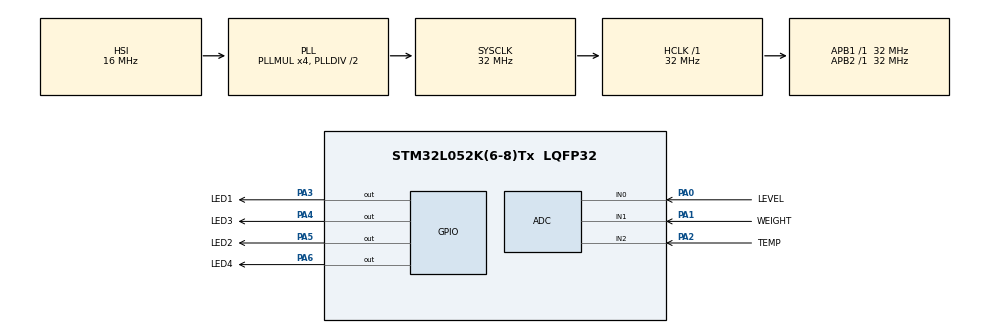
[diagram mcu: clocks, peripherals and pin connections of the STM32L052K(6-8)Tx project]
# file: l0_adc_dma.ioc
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Mcu.Family=STM32L0
RCC.MSI_VALUE=2097000
Dma.ADC.0.Mode=DMA_CIRCULAR
NVIC.TIM6_DAC_IRQn=true\:0\:0\:false\:false\:true\:true\:true
PA0.GPIO_Label=LEVEL
TIM6.Prescaler=32000-1
VP_TIM6_VS_ClockSourceINT.Mode=Enable_Timer
Dma.ADC.0.Priority=DMA_PRIORITY_LOW
PA6.GPIO_Label=LED4
RCC.SYSCLKSource=RCC_SYSCLKSOURCE_PLLCLK
ProjectManager.StackSize=0x400
Dma.ADC.0.PeriphDataAlignment=DMA_PDATAALIGN_HALFWORD
PA13.Signal=SYS_SWDIO
RCC.HSI16_VALUE=16000000
ProjectManager.TargetToolchain=STM32CubeIDE
Dma.ADC.0.PeriphInc=DMA_PINC_DISABLE
RCC.HCLKFreq_Value=32000000
RCC.APB2TimFreq_Value=32000000
RCC.LSE_VALUE=32768
PA1.Signal=ADC_IN1
RCC.AHBFreq_Value=32000000
Dma.ADC.0.Direction=DMA_PERIPH_TO_MEMORY
ADC.SamplingTime=ADC_SAMPLETIME_160CYCLES_5
PA5.Signal=GPIO_Output
ADC.DMAContinuousRequests=ENABLE
board=custom
RCC.VCOOutputFreq_Value=64000000
RCC.PLLMUL=RCC_PLLMUL_4
RCC.APB2Freq_Value=32000000
PA1.Mode=IN1
PA14.Mode=Serial_Wire
PA1.GPIO_Label=WEIGHT
PA0.Mode=IN0
TIM6.TIM_MasterOutputTrigger=TIM_TRGO_UPDATE
ADC.EOCSelection=ADC_EOC_SINGLE_CONV
TIM6.Period=100-1
PA13.Mode=Serial_Wire
Mcu.Name=STM32L052K(6-8)Tx
PA2.Signal=ADC_IN2
PA0.Signal=ADC_IN0
Dma.ADC.0.MemInc=DMA_MINC_ENABLE
PA4.Signal=GPIO_Output
RCC.SYSCLKFreq_VALUE=32000000
Mcu.Package=LQFP32
PA6.Signal=GPIO_Output
PA5.GPIO_Label=LED2
Dma.ADC.0.Instance=DMA1_Channel1
PA2.GPIO_Label=TEMP
PA14.Signal=SYS_SWCLK
ProjectManager.HeapSize=0x200
RCC.HSI_VALUE=16000000
Dma.ADC.0.MemDataAlignment=DMA_MDATAALIGN_WORD
RCC.APB1TimFreq_Value=32000000
PA2.Mode=IN2
NVIC.DMA1_Channel1_IRQn=true\:0\:0\:false\:false\:true\:false\:true
Dma.Request0=ADC
RCC.APB1Freq_Value=32000000
PA4.GPIO_Label=LED3
ADC.ExternalTrigConv=ADC_EXTERNALTRIGCONV_T6_TRGO
NVIC.ADC1_COMP_IRQn=true\:0\:0\:false\:false\:true\:true\:true
RCC.HSI48_VALUE=48000000
PA3.GPIO_Label=LED1
PA3.Signal=GPIO_Output

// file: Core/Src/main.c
/* USER CODE BEGIN Header */
/**
 ******************************************************************************
 * @file           : main.c
 * @brief          : Main program body
 ******************************************************************************
 * @attention
 *
 * <h2><center>&copy; Copyright (c) 2021 STMicroelectronics.
 * All rights reserved.</center></h2>
 *
 * This software component is licensed by ST under BSD 3-Clause license,
 * the "License"; You may not use this file except in compliance with the
 * License. You may obtain a copy of the License at:
 *                        opensource.org/licenses/BSD-3-Clause
 *
 ******************************************************************************
 */
/* USER CODE END Header */
#include "main.h"

ADC_HandleTypeDef hadc;
DMA_HandleTypeDef hdma_adc;

TIM_HandleTypeDef htim6;

void SystemClock_Config(void);
static void MX_GPIO_Init(void);
static void MX_DMA_Init(void);
static void MX_ADC_Init(void);
static void MX_TIM6_Init(void);

/* USER CODE BEGIN 0 */
#include <stdbool.h>
uint32_t adcValues[3];

volatile bool updateAdcValues = false;

void HAL_ADC_ConvCpltCallback(ADC_HandleTypeDef *hadc) {
	updateAdcValues = true;
	HAL_GPIO_TogglePin(LED4_GPIO_Port, LED4_Pin);
}

/* USER CODE END 0 */

int main(void)
{

  /* MCU Configuration--------------------------------------------------------*/

  /* Reset of all peripherals, Initializes the Flash interface and the Systick. */
  HAL_Init();

  /* Configure the system clock */
  SystemClock_Config();

  /* Initialize all configured peripherals */
  MX_GPIO_Init();
  MX_DMA_Init();
  MX_ADC_Init();
  MX_TIM6_Init();
  /* USER CODE BEGIN 2 */
	HAL_ADC_Start_DMA(&hadc, adcValues, 3);
	HAL_TIM_Base_Start(&htim6);

  /* USER CODE END 2 */

  /* Infinite loop */
  /* USER CODE BEGIN WHILE */
	while (1) {
		if (updateAdcValues) {
			updateAdcValues = false;

			if (adcValues[0] > 512) {
				HAL_GPIO_WritePin(LED1_GPIO_Port, LED1_Pin, GPIO_PIN_SET);
			} else {
				HAL_GPIO_WritePin(LED1_GPIO_Port, LED1_Pin, GPIO_PIN_RESET);
			}
			if (adcValues[1] > 512) {
				HAL_GPIO_WritePin(LED2_GPIO_Port, LED2_Pin, GPIO_PIN_SET);
			} else {
				HAL_GPIO_WritePin(LED2_GPIO_Port, LED2_Pin, GPIO_PIN_RESET);
			}
			if (adcValues[2] > 512) {
				HAL_GPIO_WritePin(LED3_GPIO_Port, LED3_Pin, GPIO_PIN_SET);
			} else {
				HAL_GPIO_WritePin(LED3_GPIO_Port, LED3_Pin, GPIO_PIN_RESET);
			}
		}
    /* USER CODE END WHILE */

	}
}

void SystemClock_Config(void)
{
  RCC_OscInitTypeDef RCC_OscInitStruct = {0};
  RCC_ClkInitTypeDef RCC_ClkInitStruct = {0};

  /** Configure the main internal regulator output voltage
  */
  __HAL_PWR_VOLTAGESCALING_CONFIG(PWR_REGULATOR_VOLTAGE_SCALE1);
  /** Initializes the RCC Oscillators according to the specified parameters
  * in the RCC_OscInitTypeDef structure.
  */
  RCC_OscInitStruct.OscillatorType = RCC_OSCILLATORTYPE_HSI;
  RCC_OscInitStruct.HSIState = RCC_HSI_ON;
  RCC_OscInitStruct.HSICalibrationValue = RCC_HSICALIBRATION_DEFAULT;
  RCC_OscInitStruct.PLL.PLLState = RCC_PLL_ON;
  RCC_OscInitStruct.PLL.PLLSource = RCC_PLLSOURCE_HSI;
  RCC_OscInitStruct.PLL.PLLMUL = RCC_PLLMUL_4;
  RCC_OscInitStruct.PLL.PLLDIV = RCC_PLLDIV_2;
  if (HAL_RCC_OscConfig(&RCC_OscInitStruct) != HAL_OK)
  {
    Error_Handler();
  }
  /** Initializes the CPU, AHB and APB buses clocks
  */
  RCC_ClkInitStruct.ClockType = RCC_CLOCKTYPE_HCLK|RCC_CLOCKTYPE_SYSCLK
                              |RCC_CLOCKTYPE_PCLK1|RCC_CLOCKTYPE_PCLK2;
  RCC_ClkInitStruct.SYSCLKSource = RCC_SYSCLKSOURCE_PLLCLK;
  RCC_ClkInitStruct.AHBCLKDivider = RCC_SYSCLK_DIV1;
  RCC_ClkInitStruct.APB1CLKDivider = RCC_HCLK_DIV1;
  RCC_ClkInitStruct.APB2CLKDivider = RCC_HCLK_DIV1;

  if (HAL_RCC_ClockConfig(&RCC_ClkInitStruct, FLASH_LATENCY_1) != HAL_OK)
  {
    Error_Handler();
  }
}

static void MX_ADC_Init(void)
{

  ADC_ChannelConfTypeDef sConfig = {0};

  /** Configure the global features of the ADC (Clock, Resolution, Data Alignment and number of conversion)
  */
  hadc.Instance = ADC1;
  hadc.Init.OversamplingMode = DISABLE;
  hadc.Init.ClockPrescaler = ADC_CLOCK_SYNC_PCLK_DIV2;
  hadc.Init.Resolution = ADC_RESOLUTION_12B;
  hadc.Init.SamplingTime = ADC_SAMPLETIME_160CYCLES_5;
  hadc.Init.ScanConvMode = ADC_SCAN_DIRECTION_FORWARD;
  hadc.Init.DataAlign = ADC_DATAALIGN_RIGHT;
  hadc.Init.ContinuousConvMode = DISABLE;
  hadc.Init.DiscontinuousConvMode = DISABLE;
  hadc.Init.ExternalTrigConvEdge = ADC_EXTERNALTRIGCONVEDGE_RISING;
  hadc.Init.ExternalTrigConv = ADC_EXTERNALTRIGCONV_T6_TRGO;
  hadc.Init.DMAContinuousRequests = ENABLE;
  hadc.Init.EOCSelection = ADC_EOC_SINGLE_CONV;
  hadc.Init.Overrun = ADC_OVR_DATA_PRESERVED;
  hadc.Init.LowPowerAutoWait = DISABLE;
  hadc.Init.LowPowerFrequencyMode = DISABLE;
  hadc.Init.LowPowerAutoPowerOff = DISABLE;
  if (HAL_ADC_Init(&hadc) != HAL_OK)
  {
    Error_Handler();
  }
  /** Configure for the selected ADC regular channel to be converted.
  */
  sConfig.Channel = ADC_CHANNEL_0;
  sConfig.Rank = ADC_RANK_CHANNEL_NUMBER;
  if (HAL_ADC_ConfigChannel(&hadc, &sConfig) != HAL_OK)
  {
    Error_Handler();
  }
  /** Configure for the selected ADC regular channel to be converted.
  */
  sConfig.Channel = ADC_CHANNEL_1;
  if (HAL_ADC_ConfigChannel(&hadc, &sConfig) != HAL_OK)
  {
    Error_Handler();
  }
  /** Configure for the selected ADC regular channel to be converted.
  */
  sConfig.Channel = ADC_CHANNEL_2;
  if (HAL_ADC_ConfigChannel(&hadc, &sConfig) != HAL_OK)
  {
    Error_Handler();
  }

}

static void MX_TIM6_Init(void)
{

  TIM_MasterConfigTypeDef sMasterConfig = {0};

  htim6.Instance = TIM6;
  htim6.Init.Prescaler = 32000-1;
  htim6.Init.CounterMode = TIM_COUNTERMODE_UP;
  htim6.Init.Period = 100-1;
  htim6.Init.AutoReloadPreload = TIM_AUTORELOAD_PRELOAD_DISABLE;
  if (HAL_TIM_Base_Init(&htim6) != HAL_OK)
  {
    Error_Handler();
  }
  sMasterConfig.MasterOutputTrigger = TIM_TRGO_UPDATE;
  sMasterConfig.MasterSlaveMode = TIM_MASTERSLAVEMODE_DISABLE;
  if (HAL_TIMEx_MasterConfigSynchronization(&htim6, &sMasterConfig) != HAL_OK)
  {
    Error_Handler();
  }

}

static void MX_DMA_Init(void)
{

  /* DMA controller clock enable */
  __HAL_RCC_DMA1_CLK_ENABLE();

  /* DMA interrupt init */
  /* DMA1_Channel1_IRQn interrupt configuration */
  HAL_NVIC_SetPriority(DMA1_Channel1_IRQn, 0, 0);
  HAL_NVIC_EnableIRQ(DMA1_Channel1_IRQn);

}

static void MX_GPIO_Init(void)
{
  GPIO_InitTypeDef GPIO_InitStruct = {0};

  /* GPIO Ports Clock Enable */
  __HAL_RCC_GPIOA_CLK_ENABLE();

  /*Configure GPIO pin Output Level */
  HAL_GPIO_WritePin(GPIOA, LED1_Pin|LED3_Pin|LED2_Pin|LED4_Pin, GPIO_PIN_RESET);

  /*Configure GPIO pins : LED1_Pin LED3_Pin LED2_Pin LED4_Pin */
  GPIO_InitStruct.Pin = LED1_Pin|LED3_Pin|LED2_Pin|LED4_Pin;
  GPIO_InitStruct.Mode = GPIO_MODE_OUTPUT_PP;
  GPIO_InitStruct.Pull = GPIO_NOPULL;
  GPIO_InitStruct.Speed = GPIO_SPEED_FREQ_LOW;
  HAL_GPIO_Init(GPIOA, &GPIO_InitStruct);

}

void Error_Handler(void)
{
	__disable_irq();
	while (1) {
	}
}

/************************ (C) COPYRIGHT STMicroelectronics *****END OF FILE****/
